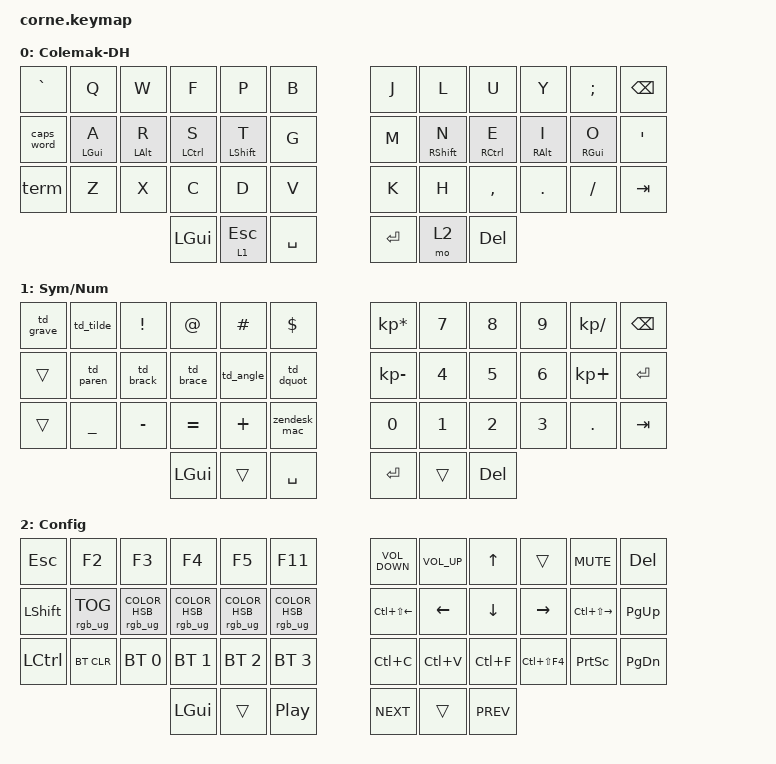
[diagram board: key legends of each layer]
/*
 * Copyright (c) 2020 The ZMK Contributors
 *
 * SPDX-License-Identifier: MIT
 *
 * Optimized Corne Keymap — Colemak-DH (Modern)
 * - Capa 0: COLEMAK-DH con Homerow Mods
 * - Capa 1: Símbolos (tap = apertura, double-tap = cierre) + Numpad derecho
 * - Capa 2: Config RGB, Bluetooth, Multimedia, Combos (Ctrl+C, Ctrl+V, Ctrl+F, Ctrl+Shift+F4)
 *
 * Homerow mods (mano izquierda):
 *   A = GUI  |  R = ALT  |  S = CTRL  |  T = SHIFT
 * Homerow mods (mano derecha):
 *   N = SHIFT  |  E = CTRL  |  I = ALT  |  O = GUI
 *
 * Colemak-DH layout (vs Colemak: D baja a fila inferior, H sube a fila home izq,
 *                                 M sube a fila home der, B y X se reorganizan):
 *   Q  W  F  P  B     J  L  U  Y  ;
 *   A  R  S  T  G     M  N  E  I  O  '
 *   Z  X  C  D  V     K  H  ,  .  /
 */

#include <behaviors.dtsi>
#include <dt-bindings/zmk/bt.h>
#include <dt-bindings/zmk/keys.h>
#include <dt-bindings/zmk/rgb.h>

/* ─── Configuración global de hold-tap ─── */

&mt {
    flavor = "tap-preferred";
    tapping-term-ms = <200>;
    quick-tap-ms = <125>;
    require-prior-idle-ms = <100>;
};

&led_strip { chain-length = <27>; };

/ {
    /* ═══════════════════════════════════════
       MACROS
       ═══════════════════════════════════════ */

    macros {
        /* Macro original: escribe /calificacion */

        term: term {
            compatible = "zmk,behavior-macro";
            #binding-cells = <0>;
            bindings = <&kp LC(LA(T))>;
            label = "TERMINAL";
        };

        /* Símbolos de apertura */

        m_paren_o: m_paren_o {
            compatible = "zmk,behavior-macro";
            #binding-cells = <0>;
            bindings = <&kp LPAR>;
            label = "M_PAREN_O";
        };

        m_brack_o: m_brack_o {
            compatible = "zmk,behavior-macro";
            #binding-cells = <0>;
            bindings = <&kp LBKT>;
            label = "M_BRACK_O";
        };

        m_brace_o: m_brace_o {
            compatible = "zmk,behavior-macro";
            #binding-cells = <0>;
            bindings = <&kp LBRC>;
            label = "M_BRACE_O";
        };

        m_angle_o: m_angle_o {
            compatible = "zmk,behavior-macro";
            #binding-cells = <0>;
            bindings = <&kp LT>;
            label = "M_ANGLE_O";
        };

        m_dquot_o: m_dquot_o {
            compatible = "zmk,behavior-macro";
            #binding-cells = <0>;
            bindings = <&kp DQT>;
            label = "M_DQUOT_O";
        };

        m_squot_o: m_squot_o {
            compatible = "zmk,behavior-macro";
            #binding-cells = <0>;
            bindings = <&kp SQT>;
            label = "M_SQUOT_O";
        };

        m_grave_o: m_grave_o {
            compatible = "zmk,behavior-macro";
            #binding-cells = <0>;
            bindings = <&kp GRAVE>;
            label = "M_GRAVE_O";
        };

        m_tilde_o: m_tilde_o {
            compatible = "zmk,behavior-macro";
            #binding-cells = <0>;
            bindings = <&kp TILDE>;
            label = "M_TILDE_O";
        };

        /* Símbolos de cierre */

        m_paren_c: m_paren_c {
            compatible = "zmk,behavior-macro";
            #binding-cells = <0>;
            bindings = <&kp RPAR>;
            label = "M_PAREN_C";
        };

        m_brack_c: m_brack_c {
            compatible = "zmk,behavior-macro";
            #binding-cells = <0>;
            bindings = <&kp RBKT>;
            label = "M_BRACK_C";
        };

        m_brace_c: m_brace_c {
            compatible = "zmk,behavior-macro";
            #binding-cells = <0>;
            bindings = <&kp RBRC>;
            label = "M_BRACE_C";
        };

        m_angle_c: m_angle_c {
            compatible = "zmk,behavior-macro";
            #binding-cells = <0>;
            bindings = <&kp GT>;
            label = "M_ANGLE_C";
        };

        m_dquot_c: m_dquot_c {
            compatible = "zmk,behavior-macro";
            #binding-cells = <0>;
            bindings = <&kp DQT>;
            label = "M_DQUOT_C";
        };

        m_squot_c: m_squot_c {
            compatible = "zmk,behavior-macro";
            #binding-cells = <0>;
            bindings = <&kp SQT>;
            label = "M_SQUOT_C";
        };

        m_grave_c: m_grave_c {
            compatible = "zmk,behavior-macro";
            #binding-cells = <0>;
            bindings = <&kp GRAVE>;
            label = "M_GRAVE_C";
        };

        m_tilde_c: m_tilde_c {
            compatible = "zmk,behavior-macro";
            #binding-cells = <0>;
            bindings = <&kp TILDE>;
            label = "M_TILDE_C";
        };

        zendesk_mac: zendesk_mac {
            compatible = "zmk,behavior-macro";
            #binding-cells = <0>;
            bindings = <&kp SLASH &kp F &kp E &kp L &kp I &kp P &kp E>;
            label = "ZENDESK_MAC";
        };
    };

    /* ═══════════════════════════════════════
       BEHAVIORS — Double-tap para símbolos
       tap  = símbolo de apertura
       hold (o double-tap ≤200 ms) = cierre
       ═══════════════════════════════════════ */

    behaviors {
        /*  ( → )  */

        td_paren: td_paren {
            compatible = "zmk,behavior-tap-dance";
            #binding-cells = <0>;
            tapping-term-ms = <200>;
            bindings = <&m_paren_o>, <&m_paren_c>;
        };

        /*  [ → ]  */

        td_brack: td_brack {
            compatible = "zmk,behavior-tap-dance";
            #binding-cells = <0>;
            tapping-term-ms = <200>;
            bindings = <&m_brack_o>, <&m_brack_c>;
        };

        /*  { → }  */

        td_brace: td_brace {
            compatible = "zmk,behavior-tap-dance";
            #binding-cells = <0>;
            tapping-term-ms = <200>;
            bindings = <&m_brace_o>, <&m_brace_c>;
        };

        /*  < → >  */

        td_angle: td_angle {
            compatible = "zmk,behavior-tap-dance";
            #binding-cells = <0>;
            tapping-term-ms = <200>;
            bindings = <&m_angle_o>, <&m_angle_c>;
        };

        /*  " → "  */

        td_dquot: td_dquot {
            compatible = "zmk,behavior-tap-dance";
            #binding-cells = <0>;
            tapping-term-ms = <200>;
            bindings = <&m_dquot_o>, <&m_dquot_c>;
        };

        /*  ' → '  */

        td_squot: td_squot {
            compatible = "zmk,behavior-tap-dance";
            #binding-cells = <0>;
            tapping-term-ms = <200>;
            bindings = <&m_squot_o>, <&m_squot_c>;
        };

        /* ` → ` */

        td_grave: td_grave {
            compatible = "zmk,behavior-tap-dance";
            #binding-cells = <0>;
            tapping-term-ms = <200>;
            bindings = <&m_grave_o>, <&m_grave_c>;
        };

        /* ~ → ~ */

        td_tilde: td_tilde {
            compatible = "zmk,behavior-tap-dance";
            #binding-cells = <0>;
            tapping-term-ms = <200>;
            bindings = <&m_tilde_o>, <&m_tilde_c>;
        };
    };

    /* ═══════════════════════════════════════
       KEYMAP
       ═══════════════════════════════════════ */

    keymap {
        compatible = "zmk,keymap";

        /* ───────────────────────────────────
           CAPA 0 — Base COLEMAK-DH + Homerow Mods
           ───────────────────────────────────
           Colemak-DH layout:
             Q  W  F  P  B  |  J  L  U  Y  ;
             A  R  S  T  G  |  M  N  E  I  O  '
             Z  X  C  D  V  |  K  H  ,  .  /

           Homerow mods (mano izquierda):
             A = GUI  |  R = ALT  |  S = CTRL  |  T = SHIFT
           Homerow mods (mano derecha):
             N = SHIFT  |  E = CTRL  |  I = ALT  |  O = GUI

           Pulgares:
             [GUI]  [MO1/ESC]  [Space]  |  [Enter]  [MO2]  [Del]
        ─────────────────────────────────── */

        Colemak-DH {
            display-name = "Colemak-DH";
            bindings = <
&kp GRAVE   &kp Q       &kp W       &kp F        &kp P         &kp B        &kp J      &kp L         &kp U        &kp Y       &kp SEMI    &kp BSPC
&caps_word  &mt LGUI A  &mt LALT R  &mt LCTRL S  &mt LSHIFT T  &kp G        &kp M      &mt RSHIFT N  &mt RCTRL E  &mt RALT I  &mt RGUI O  &kp SQT
&term       &kp Z       &kp X       &kp C        &kp D         &kp V        &kp K      &kp H         &kp COMMA    &kp DOT     &kp FSLH    &kp TAB
                                    &kp LGUI     &lt 1 ESC     &kp SPACE    &kp ENTER  &mo 2         &kp DELETE
            >;
        };

        /* ───────────────────────────────────
           CAPA 1 — Símbolos (izq) + Numpad (der)
        ─────────────────────────────────── */

        Sym-Num {
            display-name = "Sym/Num";
            bindings = <
&td_grave  &td_tilde  &kp EXCL   &kp AT     &kp HASH   &kp DOLLAR      &kp KP_MULTIPLY  &kp N7  &kp N8      &kp N9  &kp KP_SLASH  &kp BSPC
&trans     &td_paren  &td_brack  &td_brace  &td_angle  &td_dquot       &kp KP_MINUS     &kp N4  &kp N5      &kp N6  &kp KP_PLUS   &kp ENTER
&trans     &kp UNDER  &kp MINUS  &kp EQUAL  &kp PLUS   &zendesk_mac    &kp N0           &kp N1  &kp N2      &kp N3  &kp DOT       &kp TAB
                                 &kp LGUI   &trans     &kp SPACE       &kp ENTER        &trans  &kp DELETE
            >;
        };

        /* ───────────────────────────────────
           CAPA 2 — Config / Media / Combos
        ─────────────────────────────────── */

        Config {
            display-name = "Config";
            bindings = <
&kp ESC     &kp F2           &kp F3                          &kp F4                           &kp F5                             &kp F11                              &kp C_VOLUME_DOWN  &kp C_VOLUME_UP  &kp UP      &trans          &kp C_MUTE         &kp DELETE
&kp LSHIFT  &rgb_ug RGB_TOG  &rgb_ug RGB_COLOR_HSB(46,0,40)  &rgb_ug RGB_COLOR_HSB(42,42,35)  &rgb_ug RGB_COLOR_HSB(200,100,50)  &rgb_ug RGB_COLOR_HSB(116,100,50)    &kp LC(LS(LEFT))   &kp LEFT         &kp DOWN    &kp RIGHT       &kp LC(LS(RIGHT))  &kp PG_UP
&kp LCTRL   &bt BT_CLR       &bt BT_SEL 0                    &bt BT_SEL 1                     &bt BT_SEL 2                       &bt BT_SEL 3                         &kp LC(C)          &kp LC(V)        &kp LC(F)   &kp LC(LS(F4))  &kp PSCRN          &kp PG_DN
                                                             &kp LGUI                         &trans                             &kp C_PP                             &kp C_NEXT         &trans           &kp C_PREV
            >;
        };
    };
};
